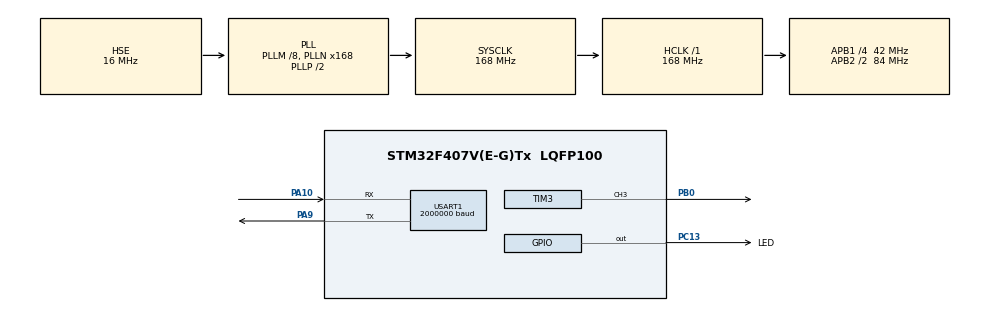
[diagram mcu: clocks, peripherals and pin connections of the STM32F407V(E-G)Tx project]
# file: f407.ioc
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Dma.Request0=TIM3_CH3
Dma.TIM3_CH3.0.Direction=DMA_MEMORY_TO_PERIPH
Dma.TIM3_CH3.0.FIFOMode=DMA_FIFOMODE_DISABLE
Dma.TIM3_CH3.0.Instance=DMA1_Stream7
Dma.TIM3_CH3.0.MemDataAlignment=DMA_MDATAALIGN_HALFWORD
Dma.TIM3_CH3.0.MemInc=DMA_MINC_ENABLE
Dma.TIM3_CH3.0.Mode=DMA_CIRCULAR
Dma.TIM3_CH3.0.PeriphDataAlignment=DMA_PDATAALIGN_HALFWORD
Dma.TIM3_CH3.0.PeriphInc=DMA_PINC_DISABLE
Dma.TIM3_CH3.0.Priority=DMA_PRIORITY_LOW
Mcu.Family=STM32F4
Mcu.Name=STM32F407V(E-G)Tx
Mcu.Package=LQFP100
Mcu.UserConstants=LED_CNT,104
NVIC.DMA1_Stream7_IRQn=true\:0\:0\:false\:false\:true\:false\:true\:true
NVIC.PriorityGroup=NVIC_PRIORITYGROUP_4
NVIC.TIM3_IRQn=true\:0\:0\:false\:false\:true\:true\:true\:true
PA10.Mode=Asynchronous
PA10.Signal=USART1_RX
PA13.Mode=Trace_Asynchronous_SW
PA13.Signal=SYS_JTMS-SWDIO
PA14.Mode=Trace_Asynchronous_SW
PA14.Signal=SYS_JTCK-SWCLK
PA9.Mode=Asynchronous
PA9.Signal=USART1_TX
PB0.GPIO_ModeDefaultPP=GPIO_MODE_AF_PP
PB0.GPIO_PuPd=GPIO_NOPULL
PB0.GPIO_Speed=GPIO_SPEED_FREQ_HIGH
PB0.Signal=S_TIM3_CH3
PB3.Mode=Trace_Asynchronous_SW
PB3.Signal=SYS_JTDO-SWO
PC13-ANTI_TAMP.GPIO_Label=LED
PC13-ANTI_TAMP.GPIO_ModeDefaultOutputPP=GPIO_MODE_OUTPUT_OD
PC13-ANTI_TAMP.GPIO_PuPd=GPIO_NOPULL
PC13-ANTI_TAMP.PinState=GPIO_PIN_SET
PC13-ANTI_TAMP.Signal=GPIO_Output
PH0-OSC_IN.Mode=HSE-External-Oscillator
PH0-OSC_IN.Signal=RCC_OSC_IN
PH1-OSC_OUT.Mode=HSE-External-Oscillator
PH1-OSC_OUT.Signal=RCC_OSC_OUT
ProjectManager.HeapSize=0x200
ProjectManager.StackSize=0x400
ProjectManager.TargetToolchain=STM32CubeIDE
RCC.48MHZClocksFreq_Value=48000000
RCC.AHBFreq_Value=168000000
RCC.APB1CLKDivider=RCC_HCLK_DIV4
RCC.APB1Freq_Value=42000000
RCC.APB1TimFreq_Value=84000000
RCC.APB2CLKDivider=RCC_HCLK_DIV2
RCC.APB2Freq_Value=84000000
RCC.APB2TimFreq_Value=168000000
RCC.CortexFreq_Value=168000000
RCC.HCLKFreq_Value=168000000
RCC.HSE_VALUE=16000000
RCC.HSI_VALUE=16000000
RCC.LSE_VALUE=32768
RCC.PLLM=8
RCC.PLLN=168
RCC.PLLQ=7
RCC.PLLSourceVirtual=RCC_PLLSOURCE_HSE
RCC.SYSCLKFreq_VALUE=168000000
RCC.SYSCLKSource=RCC_SYSCLKSOURCE_PLLCLK
RCC.VCOOutputFreq_Value=336000000
SH.S_TIM3_CH3.0=TIM3_CH3,PWM Generation3 CH3
TIM3.Channel-PWM\ Generation3\ CH3=TIM_CHANNEL_3
TIM3.Period=LED_CNT
TIM3.TIM_MasterOutputTrigger=TIM_TRGO_UPDATE
USART1.BaudRate=2000000
USART1.VirtualMode=VM_ASYNC
VP_RNG_VS_RNG.Mode=RNG_Activate
VP_TIM3_VS_ClockSourceINT.Mode=Internal
board=custom

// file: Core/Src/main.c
/* USER CODE BEGIN Header */
/**
 ******************************************************************************
 * @file           : main.c
 * @brief          : Main program body
 ******************************************************************************
 * @attention
 *
 * Copyright (c) 2025 Lars Boegild Thomsen <lbthomsen@gmail.com>
 * All rights reserved.
 *
 * This software is licensed under terms that can be found in the LICENSE file
 * in the root directory of this software component.
 * If no LICENSE file comes with this software, it is provided AS-IS.
 *
 ******************************************************************************
 */
/* USER CODE END Header */
#include "main.h"

/* USER CODE BEGIN Includes */
#include <stdio.h>
#include "ws2812_demos.h"
#include "ws2812.h"
/* USER CODE END Includes */

RNG_HandleTypeDef hrng;

TIM_HandleTypeDef htim3;
DMA_HandleTypeDef hdma_tim3_ch3;

UART_HandleTypeDef huart1;

/* USER CODE BEGIN PV */
uint32_t tim_cnt = 0;
ws2812_handleTypeDef ws2812; // The WS2812 panel handler
/* USER CODE END PV */

void SystemClock_Config(void);
static void MX_GPIO_Init(void);
static void MX_DMA_Init(void);
static void MX_USART1_UART_Init(void);
static void MX_TIM3_Init(void);
static void MX_RNG_Init(void);

/* USER CODE BEGIN 0 */

int _write(int fd, char *ptr, int len) {
    HAL_StatusTypeDef hstatus;

    if (fd == 1 || fd == 2) {
        hstatus = HAL_UART_Transmit(&huart1, (uint8_t*) ptr, len, HAL_MAX_DELAY);
        if (hstatus == HAL_OK)
            return len;
        else
            return -1;
    }
    return -1;
}

// Done sending first half of the DMA buffer - this can now safely be updated
void HAL_TIM_PWM_PulseFinishedHalfCpltCallback(TIM_HandleTypeDef *htim) {

    if (htim->Instance == TIM3) {
        ws2812_update_buffer(&ws2812, &ws2812.dma_buffer[0]);
    }

}

// Done sending the second half of the DMA buffer - this can now be safely updated
void HAL_TIM_PWM_PulseFinishedCallback(TIM_HandleTypeDef *htim) {

    if (htim->Instance == TIM3) {
        ws2812_update_buffer(&ws2812, &ws2812.dma_buffer[BUFFER_SIZE]);
    }

}

void HAL_TIM_PeriodElapsedCallback(TIM_HandleTypeDef *htim) {
    ++tim_cnt;
}

/* USER CODE END 0 */

int main(void)
{

  /* MCU Configuration--------------------------------------------------------*/

  /* Reset of all peripherals, Initializes the Flash interface and the Systick. */
  HAL_Init();

  /* Configure the system clock */
  SystemClock_Config();

  /* Initialize all configured peripherals */
  MX_GPIO_Init();
  MX_DMA_Init();
  MX_USART1_UART_Init();
  MX_TIM3_Init();
  MX_RNG_Init();
  /* USER CODE BEGIN 2 */

    printf("\r\n\r\nWS2812 Demo\r\n");

    ws2812_init(&ws2812, &htim3, TIM_CHANNEL_3, 512);
    zeroLedValues(&ws2812);

    ws2812_demos_set(&ws2812, 1);

  /* USER CODE END 2 */

  /* Infinite loop */
  /* USER CODE BEGIN WHILE */
    uint32_t now = 0, next_blink = 500, next_tick = 1000, next_demo = 1, loop_count = 0;

    while (1) {

        now = uwTick;

        if (now >= next_demo) { // Just call every 10th loop
            ws2812_demos_tick(&ws2812);
            ++next_demo;
        }

        if (now >= next_blink) { // Every 500 ms
            HAL_GPIO_TogglePin(LED_GPIO_Port, LED_Pin);
            next_blink = now + 500;
        }

        if (now >= next_tick) {
            printf("Tick %lu (count = %lu tim = %lu dma = %lu dat = %lu)\r\n", now / 1000, loop_count, tim_cnt, ws2812.dma_cbs, ws2812.dat_cbs);
            loop_count = 0;
            next_tick = now + 1000;
        }

        ++loop_count;
    /* USER CODE END WHILE */

    }
}

void SystemClock_Config(void)
{
  RCC_OscInitTypeDef RCC_OscInitStruct = {0};
  RCC_ClkInitTypeDef RCC_ClkInitStruct = {0};

  /** Configure the main internal regulator output voltage
  */
  __HAL_RCC_PWR_CLK_ENABLE();
  __HAL_PWR_VOLTAGESCALING_CONFIG(PWR_REGULATOR_VOLTAGE_SCALE1);

  /** Initializes the RCC Oscillators according to the specified parameters
  * in the RCC_OscInitTypeDef structure.
  */
  RCC_OscInitStruct.OscillatorType = RCC_OSCILLATORTYPE_HSE;
  RCC_OscInitStruct.HSEState = RCC_HSE_ON;
  RCC_OscInitStruct.PLL.PLLState = RCC_PLL_ON;
  RCC_OscInitStruct.PLL.PLLSource = RCC_PLLSOURCE_HSE;
  RCC_OscInitStruct.PLL.PLLM = 8;
  RCC_OscInitStruct.PLL.PLLN = 168;
  RCC_OscInitStruct.PLL.PLLP = RCC_PLLP_DIV2;
  RCC_OscInitStruct.PLL.PLLQ = 7;
  if (HAL_RCC_OscConfig(&RCC_OscInitStruct) != HAL_OK)
  {
    Error_Handler();
  }

  /** Initializes the CPU, AHB and APB buses clocks
  */
  RCC_ClkInitStruct.ClockType = RCC_CLOCKTYPE_HCLK|RCC_CLOCKTYPE_SYSCLK
                              |RCC_CLOCKTYPE_PCLK1|RCC_CLOCKTYPE_PCLK2;
  RCC_ClkInitStruct.SYSCLKSource = RCC_SYSCLKSOURCE_PLLCLK;
  RCC_ClkInitStruct.AHBCLKDivider = RCC_SYSCLK_DIV1;
  RCC_ClkInitStruct.APB1CLKDivider = RCC_HCLK_DIV4;
  RCC_ClkInitStruct.APB2CLKDivider = RCC_HCLK_DIV2;

  if (HAL_RCC_ClockConfig(&RCC_ClkInitStruct, FLASH_LATENCY_5) != HAL_OK)
  {
    Error_Handler();
  }
}

static void MX_RNG_Init(void)
{

  hrng.Instance = RNG;
  if (HAL_RNG_Init(&hrng) != HAL_OK)
  {
    Error_Handler();
  }

}

static void MX_TIM3_Init(void)
{

  TIM_ClockConfigTypeDef sClockSourceConfig = {0};
  TIM_MasterConfigTypeDef sMasterConfig = {0};
  TIM_OC_InitTypeDef sConfigOC = {0};

  htim3.Instance = TIM3;
  htim3.Init.Prescaler = 0;
  htim3.Init.CounterMode = TIM_COUNTERMODE_UP;
  htim3.Init.Period = LED_CNT;
  htim3.Init.ClockDivision = TIM_CLOCKDIVISION_DIV1;
  htim3.Init.AutoReloadPreload = TIM_AUTORELOAD_PRELOAD_DISABLE;
  if (HAL_TIM_Base_Init(&htim3) != HAL_OK)
  {
    Error_Handler();
  }
  sClockSourceConfig.ClockSource = TIM_CLOCKSOURCE_INTERNAL;
  if (HAL_TIM_ConfigClockSource(&htim3, &sClockSourceConfig) != HAL_OK)
  {
    Error_Handler();
  }
  if (HAL_TIM_PWM_Init(&htim3) != HAL_OK)
  {
    Error_Handler();
  }
  sMasterConfig.MasterOutputTrigger = TIM_TRGO_UPDATE;
  sMasterConfig.MasterSlaveMode = TIM_MASTERSLAVEMODE_DISABLE;
  if (HAL_TIMEx_MasterConfigSynchronization(&htim3, &sMasterConfig) != HAL_OK)
  {
    Error_Handler();
  }
  sConfigOC.OCMode = TIM_OCMODE_PWM1;
  sConfigOC.Pulse = 0;
  sConfigOC.OCPolarity = TIM_OCPOLARITY_HIGH;
  sConfigOC.OCFastMode = TIM_OCFAST_DISABLE;
  if (HAL_TIM_PWM_ConfigChannel(&htim3, &sConfigOC, TIM_CHANNEL_3) != HAL_OK)
  {
    Error_Handler();
  }
  HAL_TIM_MspPostInit(&htim3);

}

static void MX_USART1_UART_Init(void)
{

  huart1.Instance = USART1;
  huart1.Init.BaudRate = 2000000;
  huart1.Init.WordLength = UART_WORDLENGTH_8B;
  huart1.Init.StopBits = UART_STOPBITS_1;
  huart1.Init.Parity = UART_PARITY_NONE;
  huart1.Init.Mode = UART_MODE_TX_RX;
  huart1.Init.HwFlowCtl = UART_HWCONTROL_NONE;
  huart1.Init.OverSampling = UART_OVERSAMPLING_16;
  if (HAL_UART_Init(&huart1) != HAL_OK)
  {
    Error_Handler();
  }

}

static void MX_DMA_Init(void)
{

  /* DMA controller clock enable */
  __HAL_RCC_DMA1_CLK_ENABLE();

  /* DMA interrupt init */
  /* DMA1_Stream7_IRQn interrupt configuration */
  HAL_NVIC_SetPriority(DMA1_Stream7_IRQn, 0, 0);
  HAL_NVIC_EnableIRQ(DMA1_Stream7_IRQn);

}

static void MX_GPIO_Init(void)
{
  GPIO_InitTypeDef GPIO_InitStruct = {0};

  /* GPIO Ports Clock Enable */
  __HAL_RCC_GPIOC_CLK_ENABLE();
  __HAL_RCC_GPIOH_CLK_ENABLE();
  __HAL_RCC_GPIOB_CLK_ENABLE();
  __HAL_RCC_GPIOA_CLK_ENABLE();

  /*Configure GPIO pin Output Level */
  HAL_GPIO_WritePin(LED_GPIO_Port, LED_Pin, GPIO_PIN_SET);

  /*Configure GPIO pin : LED_Pin */
  GPIO_InitStruct.Pin = LED_Pin;
  GPIO_InitStruct.Mode = GPIO_MODE_OUTPUT_OD;
  GPIO_InitStruct.Pull = GPIO_NOPULL;
  GPIO_InitStruct.Speed = GPIO_SPEED_FREQ_LOW;
  HAL_GPIO_Init(LED_GPIO_Port, &GPIO_InitStruct);

}

void Error_Handler(void)
{
    __disable_irq();
    while (1)
    {
    }
}
